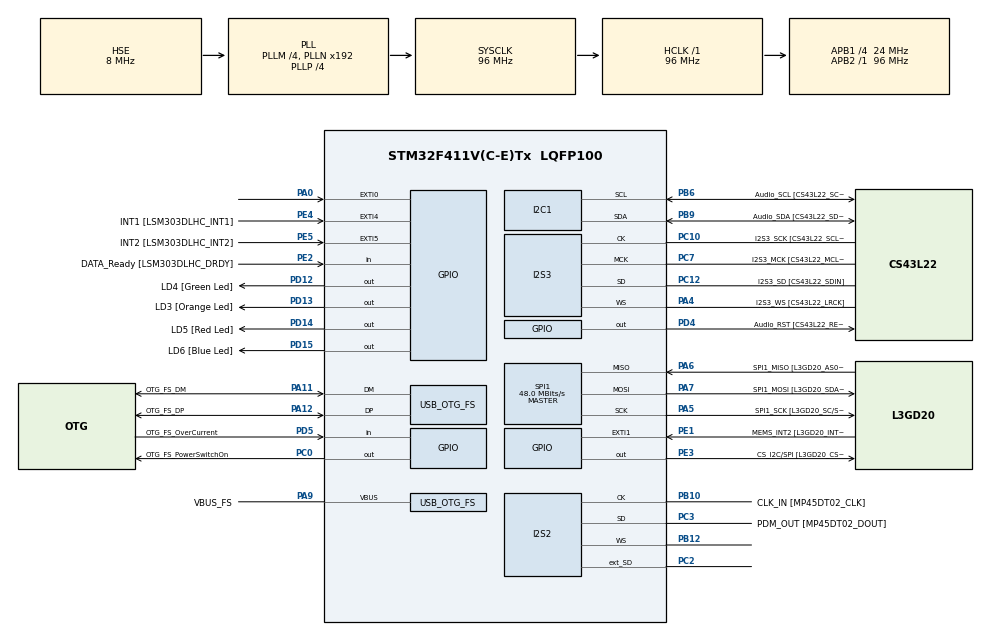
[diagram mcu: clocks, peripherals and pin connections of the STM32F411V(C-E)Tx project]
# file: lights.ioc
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I2S2.AudioFreq=I2S_AUDIOFREQ_96K
I2S2.ErrorAudioFreq=0.15 %
I2S2.FullDuplexMode=I2S_FULLDUPLEXMODE_ENABLE
I2S2.Instance=SPI$Index
I2S2.RealAudioFreq=96.153 KHz
I2S2.VirtualMode=I2S_MODE_MASTER
I2S3.AudioFreq=I2S_AUDIOFREQ_96K
I2S3.ErrorAudioFreq=-6.99 %
I2S3.FullDuplexMode=I2S_FULLDUPLEXMODE_DISABLE
I2S3.Instance=SPI$Index
I2S3.RealAudioFreq=89.285 KHz
I2S3.VirtualMode=I2S_MODE_MASTER
Mcu.Family=STM32F4
Mcu.Name=STM32F411V(C-E)Tx
Mcu.Package=LQFP100
NVIC.EXTI0_IRQn=true\:0\:0\:false\:false\:true\:true\:true
NVIC.OTG_FS_IRQn=true\:0\:0\:false\:false\:true\:true\:true
NVIC.PriorityGroup=NVIC_PRIORITYGROUP_0
PA0-WKUP.Signal=GPXTI0
PA10.GPIO_Label=OTG_FS_ID
PA10.Signal=USB_OTG_FS_ID
PA11.GPIO_Label=OTG_FS_DM
PA11.Mode=Host_Only
PA11.Signal=USB_OTG_FS_DM
PA12.GPIO_Label=OTG_FS_DP
PA12.Mode=Host_Only
PA12.Signal=USB_OTG_FS_DP
PA13.GPIO_Label=SWDIO
PA13.Mode=Serial_Wire
PA13.Signal=SYS_JTMS-SWDIO
PA14.GPIO_Label=SWCLK
PA14.Mode=Serial_Wire
PA14.Signal=SYS_JTCK-SWCLK
PA4.GPIO_Label=I2S3_WS [CS43L22_LRCK]
PA4.GPIO_Mode=GPIO_MODE_AF_PP
PA4.GPIO_PuPd=GPIO_NOPULL
PA4.GPIO_Speed=GPIO_SPEED_FREQ_LOW
PA4.Mode=Half_Duplex_Master
PA4.Signal=I2S3_WS
PA5.GPIO_Label=SPI1_SCK [L3GD20_SC/SPC]
PA5.Mode=Full_Duplex_Master
PA5.Signal=SPI1_SCK
PA6.GPIO_Label=SPI1_MISO [L3GD20_AS0/SDO]
PA6.Mode=Full_Duplex_Master
PA6.Signal=SPI1_MISO
PA7.GPIO_Label=SPI1_MOSI [L3GD20_SDA/SDI/SDO]
PA7.Mode=Full_Duplex_Master
PA7.Signal=SPI1_MOSI
PA9.GPIO_Label=VBUS_FS
PA9.Mode=Activate_VBUS
PA9.Signal=USB_OTG_FS_VBUS
PB10.GPIO_Label=CLK_IN [MP45DT02_CLK]
PB10.Mode=Full_Duplex_Master
PB10.Signal=I2S2_CK
PB12.Mode=Full_Duplex_Master
PB12.Signal=I2S2_WS
PB3.GPIO_Label=SWO
PB3.Signal=SYS_JTDO-SWO
PB6.GPIO_Label=Audio_SCL [CS43L22_SCL]
PB6.GPIO_Mode=GPIO_MODE_AF_OD
PB6.GPIO_PuPd=GPIO_NOPULL
PB6.GPIO_Speed=GPIO_SPEED_FREQ_LOW
PB6.Mode=I2C
PB6.Signal=I2C1_SCL
PB9.GPIO_Label=Audio_SDA [CS43L22_SDA]
PB9.GPIO_Mode=GPIO_MODE_AF_OD
PB9.GPIO_PuPd=GPIO_NOPULL
PB9.GPIO_Speed=GPIO_SPEED_FREQ_LOW
PB9.Mode=I2C
PB9.Signal=I2C1_SDA
PC0.GPIO_Label=OTG_FS_PowerSwitchOn
PC0.PinState=GPIO_PIN_SET
PC0.Signal=GPIO_Output
PC10.GPIO_Label=I2S3_SCK [CS43L22_SCLK]
PC10.GPIO_Mode=GPIO_MODE_AF_PP
PC10.GPIO_PuPd=GPIO_NOPULL
PC10.GPIO_Speed=GPIO_SPEED_FREQ_LOW
PC10.Mode=Half_Duplex_Master
PC10.Signal=I2S3_CK
PC12.GPIO_Label=I2S3_SD [CS43L22_SDIN]
PC12.GPIO_Mode=GPIO_MODE_AF_PP
PC12.GPIO_PuPd=GPIO_NOPULL
PC12.GPIO_Speed=GPIO_SPEED_FREQ_LOW
PC12.Mode=Half_Duplex_Master
PC12.Signal=I2S3_SD
PC14-OSC32_IN.GPIO_Label=PC14-OSC32_IN
PC14-OSC32_IN.Mode=LSE-External-Oscillator
PC14-OSC32_IN.Signal=RCC_OSC32_IN
PC15-OSC32_OUT.GPIO_Label=PC15-OSC32_OUT
PC15-OSC32_OUT.Mode=LSE-External-Oscillator
PC15-OSC32_OUT.Signal=RCC_OSC32_OUT
PC2.Mode=Full_Duplex_Master
PC2.Signal=I2S2_ext_SD
PC3.GPIO_Label=PDM_OUT [MP45DT02_DOUT]
PC3.Mode=Full_Duplex_Master
PC3.Signal=I2S2_SD
PC7.GPIO_Label=I2S3_MCK [CS43L22_MCLK]
PC7.GPIO_Mode=GPIO_MODE_AF_PP
PC7.GPIO_PuPd=GPIO_NOPULL
PC7.GPIO_Speed=GPIO_SPEED_FREQ_LOW
PC7.Mode=Master_Clock_Activated
PC7.Signal=I2S3_MCK
PD12.GPIO_Label=LD4 [Green Led]
PD12.GPIO_PuPd=GPIO_NOPULL
PD12.GPIO_Speed=GPIO_SPEED_FREQ_LOW
PD12.Signal=GPIO_Output
PD13.GPIO_Label=LD3 [Orange Led]
PD13.GPIO_PuPd=GPIO_NOPULL
PD13.GPIO_Speed=GPIO_SPEED_FREQ_LOW
PD13.Signal=GPIO_Output
PD14.GPIO_Label=LD5 [Red Led]
PD14.GPIO_PuPd=GPIO_NOPULL
PD14.GPIO_Speed=GPIO_SPEED_FREQ_LOW
PD14.Signal=GPIO_Output
PD15.GPIO_Label=LD6 [Blue Led]
PD15.GPIO_PuPd=GPIO_NOPULL
PD15.GPIO_Speed=GPIO_SPEED_FREQ_LOW
PD15.Signal=GPIO_Output
PD4.GPIO_Label=Audio_RST [CS43L22_RESET]
PD4.Signal=GPIO_Output
PD5.GPIO_Label=OTG_FS_OverCurrent
PD5.Signal=GPIO_Input
PE1.GPIO_Label=MEMS_INT2 [L3GD20_INT2]
PE1.GPIO_ModeDefaultEXTI=GPIO_MODE_EVT_RISING
PE1.Signal=GPXTI1
PE2.GPIO_Label=DATA_Ready [LSM303DLHC_DRDY]
PE2.Signal=GPIO_Input
PE3.GPIO_Label=CS_I2C/SPI [L3GD20_CS_I2C/SPI]
PE3.Signal=GPIO_Output
PE4.GPIO_Label=INT1 [LSM303DLHC_INT1]
PE4.GPIO_ModeDefaultEXTI=GPIO_MODE_EVT_RISING
PE4.Signal=GPXTI4
PE5.GPIO_Label=INT2 [LSM303DLHC_INT2]
PE5.GPIO_ModeDefaultEXTI=GPIO_MODE_EVT_RISING
PE5.Signal=GPXTI5
PH0\ -\ OSC_IN.GPIO_Label=PH0-OSC_IN
PH0\ -\ OSC_IN.Mode=HSE-External-Oscillator
PH0\ -\ OSC_IN.Signal=RCC_OSC_IN
PH1\ -\ OSC_OUT.GPIO_Label=PH1-OSC_OUT
PH1\ -\ OSC_OUT.Mode=HSE-External-Oscillator
PH1\ -\ OSC_OUT.Signal=RCC_OSC_OUT
ProjectManager.HeapSize=0x200
ProjectManager.StackSize=0x400
ProjectManager.TargetToolchain=SW4STM32
RCC.48MHZClocksFreq_Value=48000000
RCC.AHBFreq_Value=96000000
RCC.APB1CLKDivider=RCC_HCLK_DIV4
RCC.APB1Freq_Value=24000000
RCC.APB1TimFreq_Value=48000000
RCC.APB2Freq_Value=96000000
RCC.APB2TimFreq_Value=96000000
RCC.CortexFreq_Value=96000000
RCC.HCLKFreq_Value=96000000
RCC.HSE_VALUE=8000000
RCC.HSI_VALUE=16000000
RCC.PLLI2SM=5
RCC.PLLI2SN=200
RCC.PLLM=4
RCC.PLLP=RCC_PLLP_DIV4
RCC.PLLQ=8
RCC.SYSCLKFreq_VALUE=96000000
RCC.SYSCLKSource=RCC_SYSCLKSOURCE_PLLCLK
RCC.VCOOutputFreq_Value=384000000
SPI1.BaudRatePrescaler=SPI_BAUDRATEPRESCALER_2
SPI1.CalculateBaudRate=48.0 MBits/s
SPI1.Direction=SPI_DIRECTION_2LINES
SPI1.Mode=SPI_MODE_MASTER
SPI1.VirtualType=VM_MASTER
USB_HOST.BSP.number=1
USB_HOST.USBH_HandleTypeDef=hUsbHostFS
USB_HOST.VirtualModeFS=Cdc
USB_HOST0.BSP.STBoard=false
USB_HOST0.BSP.api=Unknown
USB_HOST0.BSP.i2caddr=0
USB_HOST0.BSP.i2creg=0
USB_HOST0.BSP.instance=PC0
USB_HOST0.BSP.ip=GPIO
USB_HOST0.BSP.mode=Output
USB_HOST0.BSP.name=Drive_VBUS_FS
USB_HOST0.BSP.solution=PC0
USB_OTG_FS.VirtualMode=Host_Only
USB_OTG_FS.phy_itface=HCD_PHY_EMBEDDED
VP_USB_HOST_VS_USB_HOST_CDC_FS.Mode=CDC_FS
board=STM32F411E-DISCO

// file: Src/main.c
/* USER CODE BEGIN Header */
/**
  ******************************************************************************
  * @file           : main.c
  * @brief          : Main program body
  ******************************************************************************
  * @attention
  *
  * <h2><center>&copy; Copyright (c) 2019 STMicroelectronics.
  * All rights reserved.</center></h2>
  *
  * This software component is licensed by ST under Ultimate Liberty license
  * SLA0044, the "License"; You may not use this file except in compliance with
  * the License. You may obtain a copy of the License at:
  *                             www.st.com/SLA0044
  *
  ******************************************************************************
  */
/* USER CODE END Header */

#include "main.h"
#include "usb_host.h"

I2C_HandleTypeDef hi2c1;

I2S_HandleTypeDef hi2s2;
I2S_HandleTypeDef hi2s3;

SPI_HandleTypeDef hspi1;

pin_arr[4] = {GPIO_PIN_12, GPIO_PIN_13, GPIO_PIN_14, GPIO_PIN_15};

int current = 0;
int switched = 0;
int pushed = 0;

void SystemClock_Config(void);
static void MX_GPIO_Init(void);
static void MX_I2C1_Init(void);
static void MX_I2S2_Init(void);
static void MX_I2S3_Init(void);
static void MX_SPI1_Init(void);
void MX_USB_HOST_Process(void);

void delay() {
    volatile uint32_t i;
    for (i=0; i != 0x100000; i++);
}
//void delay_asm(uint32_t useconds) {
//	asm volatile("   mov r0, %[useconds]    \n"
//			"1: subs r0, #1            \n"
//			"   bhi 1b                 \n": :[useconds] "r" (useconds): "r0");
//}

int main(void)
{

  /* MCU Configuration--------------------------------------------------------*/

  /* Reset of all peripherals, Initializes the Flash interface and the Systick. */
  HAL_Init();

  /* Configure the system clock */
  SystemClock_Config();

  /* Initialize all configured peripherals */
  MX_GPIO_Init();
  MX_I2C1_Init();
  MX_I2S2_Init();
  MX_I2S3_Init();
  MX_SPI1_Init();
  MX_USB_HOST_Init();

  /* Infinite loop */
  /* USER CODE BEGIN WHILE */
  while (1)
  {
	  	  	if (HAL_GPIO_ReadPin(GPIOA, GPIO_PIN_0) && !pushed) {
	  	  		switched = !switched;
	  	  		pushed = 1;
	  	  	}
	  	  	if (!HAL_GPIO_ReadPin(GPIOA, GPIO_PIN_0)) {
	  	  		pushed = 0;
	  	  	}
	        if (switched) {
	        	HAL_GPIO_WritePin(GPIOD, pin_arr[current], 1);
				HAL_Delay(100);
				HAL_GPIO_WritePin(GPIOD, pin_arr[current], 0);
				HAL_Delay(100);
				current++;
				if (current == 4) {
					current = 0;
				}
	        } else {
	        	HAL_GPIO_WritePin(GPIOD, pin_arr[current], 1);
	        	HAL_Delay(100);
				HAL_GPIO_WritePin(GPIOD, pin_arr[current], 0);
				HAL_Delay(100);
				current--;
				if (current == -1) {
					current = 3;
				}
	        }

    /* USER CODE END WHILE */
    MX_USB_HOST_Process();

  }
}

void SystemClock_Config(void)
{
  RCC_OscInitTypeDef RCC_OscInitStruct = {0};
  RCC_ClkInitTypeDef RCC_ClkInitStruct = {0};
  RCC_PeriphCLKInitTypeDef PeriphClkInitStruct = {0};

  /** Configure the main internal regulator output voltage
  */
  __HAL_RCC_PWR_CLK_ENABLE();
  __HAL_PWR_VOLTAGESCALING_CONFIG(PWR_REGULATOR_VOLTAGE_SCALE1);
  /** Initializes the CPU, AHB and APB busses clocks
  */
  RCC_OscInitStruct.OscillatorType = RCC_OSCILLATORTYPE_HSE;
  RCC_OscInitStruct.HSEState = RCC_HSE_ON;
  RCC_OscInitStruct.PLL.PLLState = RCC_PLL_ON;
  RCC_OscInitStruct.PLL.PLLSource = RCC_PLLSOURCE_HSE;
  RCC_OscInitStruct.PLL.PLLM = 4;
  RCC_OscInitStruct.PLL.PLLN = 192;
  RCC_OscInitStruct.PLL.PLLP = RCC_PLLP_DIV4;
  RCC_OscInitStruct.PLL.PLLQ = 8;
  if (HAL_RCC_OscConfig(&RCC_OscInitStruct) != HAL_OK)
  {
    Error_Handler();
  }
  /** Initializes the CPU, AHB and APB busses clocks
  */
  RCC_ClkInitStruct.ClockType = RCC_CLOCKTYPE_HCLK|RCC_CLOCKTYPE_SYSCLK
                              |RCC_CLOCKTYPE_PCLK1|RCC_CLOCKTYPE_PCLK2;
  RCC_ClkInitStruct.SYSCLKSource = RCC_SYSCLKSOURCE_PLLCLK;
  RCC_ClkInitStruct.AHBCLKDivider = RCC_SYSCLK_DIV1;
  RCC_ClkInitStruct.APB1CLKDivider = RCC_HCLK_DIV4;
  RCC_ClkInitStruct.APB2CLKDivider = RCC_HCLK_DIV1;

  if (HAL_RCC_ClockConfig(&RCC_ClkInitStruct, FLASH_LATENCY_3) != HAL_OK)
  {
    Error_Handler();
  }
  PeriphClkInitStruct.PeriphClockSelection = RCC_PERIPHCLK_I2S;
  PeriphClkInitStruct.PLLI2S.PLLI2SN = 200;
  PeriphClkInitStruct.PLLI2S.PLLI2SM = 5;
  PeriphClkInitStruct.PLLI2S.PLLI2SR = 2;
  if (HAL_RCCEx_PeriphCLKConfig(&PeriphClkInitStruct) != HAL_OK)
  {
    Error_Handler();
  }
}

static void MX_I2C1_Init(void)
{

  hi2c1.Instance = I2C1;
  hi2c1.Init.ClockSpeed = 100000;
  hi2c1.Init.DutyCycle = I2C_DUTYCYCLE_2;
  hi2c1.Init.OwnAddress1 = 0;
  hi2c1.Init.AddressingMode = I2C_ADDRESSINGMODE_7BIT;
  hi2c1.Init.DualAddressMode = I2C_DUALADDRESS_DISABLE;
  hi2c1.Init.OwnAddress2 = 0;
  hi2c1.Init.GeneralCallMode = I2C_GENERALCALL_DISABLE;
  hi2c1.Init.NoStretchMode = I2C_NOSTRETCH_DISABLE;
  if (HAL_I2C_Init(&hi2c1) != HAL_OK)
  {
    Error_Handler();
  }

}

static void MX_I2S2_Init(void)
{

  hi2s2.Instance = SPI2;
  hi2s2.Init.Mode = I2S_MODE_MASTER_TX;
  hi2s2.Init.Standard = I2S_STANDARD_PHILIPS;
  hi2s2.Init.DataFormat = I2S_DATAFORMAT_16B;
  hi2s2.Init.MCLKOutput = I2S_MCLKOUTPUT_DISABLE;
  hi2s2.Init.AudioFreq = I2S_AUDIOFREQ_96K;
  hi2s2.Init.CPOL = I2S_CPOL_LOW;
  hi2s2.Init.ClockSource = I2S_CLOCK_PLL;
  hi2s2.Init.FullDuplexMode = I2S_FULLDUPLEXMODE_ENABLE;
  if (HAL_I2S_Init(&hi2s2) != HAL_OK)
  {
    Error_Handler();
  }

}

static void MX_I2S3_Init(void)
{

  hi2s3.Instance = SPI3;
  hi2s3.Init.Mode = I2S_MODE_MASTER_TX;
  hi2s3.Init.Standard = I2S_STANDARD_PHILIPS;
  hi2s3.Init.DataFormat = I2S_DATAFORMAT_16B;
  hi2s3.Init.MCLKOutput = I2S_MCLKOUTPUT_ENABLE;
  hi2s3.Init.AudioFreq = I2S_AUDIOFREQ_96K;
  hi2s3.Init.CPOL = I2S_CPOL_LOW;
  hi2s3.Init.ClockSource = I2S_CLOCK_PLL;
  hi2s3.Init.FullDuplexMode = I2S_FULLDUPLEXMODE_DISABLE;
  if (HAL_I2S_Init(&hi2s3) != HAL_OK)
  {
    Error_Handler();
  }

}

static void MX_SPI1_Init(void)
{

  /* SPI1 parameter configuration*/
  hspi1.Instance = SPI1;
  hspi1.Init.Mode = SPI_MODE_MASTER;
  hspi1.Init.Direction = SPI_DIRECTION_2LINES;
  hspi1.Init.DataSize = SPI_DATASIZE_8BIT;
  hspi1.Init.CLKPolarity = SPI_POLARITY_LOW;
  hspi1.Init.CLKPhase = SPI_PHASE_1EDGE;
  hspi1.Init.NSS = SPI_NSS_SOFT;
  hspi1.Init.BaudRatePrescaler = SPI_BAUDRATEPRESCALER_2;
  hspi1.Init.FirstBit = SPI_FIRSTBIT_MSB;
  hspi1.Init.TIMode = SPI_TIMODE_DISABLE;
  hspi1.Init.CRCCalculation = SPI_CRCCALCULATION_DISABLE;
  hspi1.Init.CRCPolynomial = 10;
  if (HAL_SPI_Init(&hspi1) != HAL_OK)
  {
    Error_Handler();
  }

}

static void MX_GPIO_Init(void)
{
  GPIO_InitTypeDef GPIO_InitStruct = {0};

  /* GPIO Ports Clock Enable */
  __HAL_RCC_GPIOE_CLK_ENABLE();
  __HAL_RCC_GPIOC_CLK_ENABLE();
  __HAL_RCC_GPIOH_CLK_ENABLE();
  __HAL_RCC_GPIOA_CLK_ENABLE();
  __HAL_RCC_GPIOB_CLK_ENABLE();
  __HAL_RCC_GPIOD_CLK_ENABLE();

  /*Configure GPIO pin Output Level */
  HAL_GPIO_WritePin(CS_I2C_SPI_GPIO_Port, CS_I2C_SPI_Pin, GPIO_PIN_RESET);

  /*Configure GPIO pin Output Level */
  HAL_GPIO_WritePin(OTG_FS_PowerSwitchOn_GPIO_Port, OTG_FS_PowerSwitchOn_Pin, GPIO_PIN_SET);

  /*Configure GPIO pin Output Level */
  HAL_GPIO_WritePin(GPIOD, LD4_Pin|LD3_Pin|LD5_Pin|LD6_Pin
                          |Audio_RST_Pin, GPIO_PIN_RESET);

  /*Configure GPIO pin : DATA_Ready_Pin */
  GPIO_InitStruct.Pin = DATA_Ready_Pin;
  GPIO_InitStruct.Mode = GPIO_MODE_INPUT;
  GPIO_InitStruct.Pull = GPIO_NOPULL;
  HAL_GPIO_Init(DATA_Ready_GPIO_Port, &GPIO_InitStruct);

  /*Configure GPIO pin : CS_I2C_SPI_Pin */
  GPIO_InitStruct.Pin = CS_I2C_SPI_Pin;
  GPIO_InitStruct.Mode = GPIO_MODE_OUTPUT_PP;
  GPIO_InitStruct.Pull = GPIO_NOPULL;
  GPIO_InitStruct.Speed = GPIO_SPEED_FREQ_LOW;
  HAL_GPIO_Init(CS_I2C_SPI_GPIO_Port, &GPIO_InitStruct);

  /*Configure GPIO pins : INT1_Pin INT2_Pin MEMS_INT2_Pin */
  GPIO_InitStruct.Pin = INT1_Pin|INT2_Pin|MEMS_INT2_Pin;
  GPIO_InitStruct.Mode = GPIO_MODE_EVT_RISING;
  GPIO_InitStruct.Pull = GPIO_NOPULL;
  HAL_GPIO_Init(GPIOE, &GPIO_InitStruct);

  /*Configure GPIO pin : OTG_FS_PowerSwitchOn_Pin */
  GPIO_InitStruct.Pin = OTG_FS_PowerSwitchOn_Pin;
  GPIO_InitStruct.Mode = GPIO_MODE_OUTPUT_PP;
  GPIO_InitStruct.Pull = GPIO_NOPULL;
  GPIO_InitStruct.Speed = GPIO_SPEED_FREQ_LOW;
  HAL_GPIO_Init(OTG_FS_PowerSwitchOn_GPIO_Port, &GPIO_InitStruct);

  /*Configure GPIO pin : PA0 */
  GPIO_InitStruct.Pin = GPIO_PIN_0;
  GPIO_InitStruct.Mode = GPIO_MODE_IT_RISING;
  GPIO_InitStruct.Pull = GPIO_NOPULL;
  HAL_GPIO_Init(GPIOA, &GPIO_InitStruct);

  /*Configure GPIO pins : LD4_Pin LD3_Pin LD5_Pin LD6_Pin
                           Audio_RST_Pin */
  GPIO_InitStruct.Pin = LD4_Pin|LD3_Pin|LD5_Pin|LD6_Pin
                          |Audio_RST_Pin;
  GPIO_InitStruct.Mode = GPIO_MODE_OUTPUT_PP;
  GPIO_InitStruct.Pull = GPIO_NOPULL;
  GPIO_InitStruct.Speed = GPIO_SPEED_FREQ_LOW;
  HAL_GPIO_Init(GPIOD, &GPIO_InitStruct);

  /*Configure GPIO pin : OTG_FS_OverCurrent_Pin */
  GPIO_InitStruct.Pin = OTG_FS_OverCurrent_Pin;
  GPIO_InitStruct.Mode = GPIO_MODE_INPUT;
  GPIO_InitStruct.Pull = GPIO_NOPULL;
  HAL_GPIO_Init(OTG_FS_OverCurrent_GPIO_Port, &GPIO_InitStruct);

  /* EXTI interrupt init*/
  HAL_NVIC_SetPriority(EXTI0_IRQn, 0, 0);
  HAL_NVIC_EnableIRQ(EXTI0_IRQn);

}

void Error_Handler(void)
{
}

/************************ (C) COPYRIGHT STMicroelectronics *****END OF FILE****/
